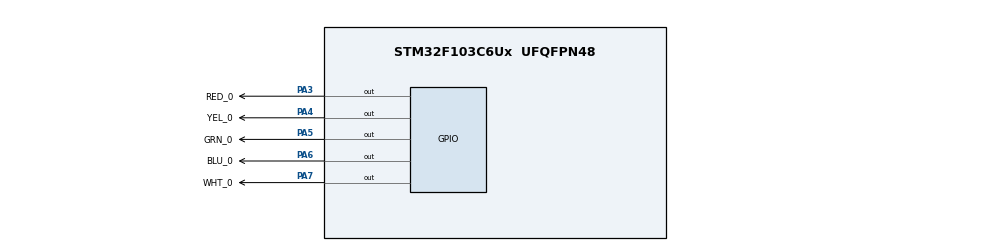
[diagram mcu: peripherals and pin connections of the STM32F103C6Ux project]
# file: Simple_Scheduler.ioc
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Mcu.Family=STM32F1
Mcu.Name=STM32F103C6Ux
Mcu.Package=UFQFPN48
NVIC.PriorityGroup=NVIC_PRIORITYGROUP_4
NVIC.TIM2_IRQn=true\:0\:0\:false\:false\:true\:true\:true\:true
PA13.Mode=Serial_Wire
PA13.Signal=SYS_JTMS-SWDIO
PA14.Mode=Serial_Wire
PA14.Signal=SYS_JTCK-SWCLK
PA3.GPIO_Label=RED_0
PA3.Signal=GPIO_Output
PA4.GPIO_Label=YEL_0
PA4.Signal=GPIO_Output
PA5.GPIO_Label=GRN_0
PA5.Signal=GPIO_Output
PA6.GPIO_Label=BLU_0
PA6.Signal=GPIO_Output
PA7.GPIO_Label=WHT_0
PA7.Signal=GPIO_Output
ProjectManager.HeapSize=0x200
ProjectManager.StackSize=0x400
ProjectManager.TargetToolchain=STM32CubeIDE
RCC.APB1Freq_Value=8000000
RCC.APB2Freq_Value=8000000
TIM2.Period=9
TIM2.Prescaler=7999
VP_TIM2_VS_ClockSourceINT.Mode=Internal
board=custom

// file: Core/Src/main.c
/* USER CODE BEGIN Header */
/**
  ******************************************************************************
  * @file           : main.c
  * @brief          : Main program body
  ******************************************************************************
  * @attention
  *
  * Copyright (c) 2022 STMicroelectronics.
  * All rights reserved.
  *
  * This software is licensed under terms that can be found in the LICENSE file
  * in the root directory of this software component.
  * If no LICENSE file comes with this software, it is provided AS-IS.
  *
  ******************************************************************************
  */
/* USER CODE END Header */
#include "main.h"
#include "tim.h"
#include "gpio.h"

/* USER CODE BEGIN Includes */
#include "sched.h"
/* USER CODE END Includes */

void SystemClock_Config(void);
/* USER CODE BEGIN PFP */
void toggleRedLed(void);
void toggleYelLed(void);
void toggleGrnLed(void);
void toggleBluLed(void);
void toggleWhtLed(void);
/* USER CODE END PFP */

/* USER CODE BEGIN 0 */
void toggleRedLed(void) {
	HAL_GPIO_TogglePin(RED_0_GPIO_Port, RED_0_Pin);
}

void toggleYelLed(void) {
	HAL_GPIO_TogglePin(YEL_0_GPIO_Port, YEL_0_Pin);
}

void toggleGrnLed(void) {
	HAL_GPIO_TogglePin(GRN_0_GPIO_Port, GRN_0_Pin);
}

void toggleBluLed(void) {
	HAL_GPIO_TogglePin(BLU_0_GPIO_Port, BLU_0_Pin);
}

void toggleWhtLed(void) {
	HAL_GPIO_TogglePin(WHT_0_GPIO_Port, WHT_0_Pin);
}
/* USER CODE END 0 */

int main(void)
{

  /* MCU Configuration--------------------------------------------------------*/

  /* Reset of all peripherals, Initializes the Flash interface and the Systick. */
  HAL_Init();

  /* USER CODE BEGIN Init */
  SCH_Init();
  /* USER CODE END Init */

  /* Configure the system clock */
  SystemClock_Config();

  /* Initialize all configured peripherals */
  MX_GPIO_Init();
  MX_TIM2_Init();
  /* USER CODE BEGIN 2 */
  HAL_TIM_Base_Start_IT(&htim2);

  SCH_Add_Task(&toggleRedLed, 0, 500);
  SCH_Add_Task(&toggleYelLed, 10, 1000);
  SCH_Add_Task(&toggleGrnLed, 20, 1500);
  SCH_Add_Task(&toggleBluLed, 30, 2000);
  SCH_Add_Task(&toggleWhtLed, 5000, 0);
  /* USER CODE END 2 */

  /* Infinite loop */
  /* USER CODE BEGIN WHILE */
  while (1)
  {
	SCH_Dispatch_Tasks();
    /* USER CODE END WHILE */

  }
}

void SystemClock_Config(void)
{
  RCC_OscInitTypeDef RCC_OscInitStruct = {0};
  RCC_ClkInitTypeDef RCC_ClkInitStruct = {0};

  /** Initializes the RCC Oscillators according to the specified parameters
  * in the RCC_OscInitTypeDef structure.
  */
  RCC_OscInitStruct.OscillatorType = RCC_OSCILLATORTYPE_HSI;
  RCC_OscInitStruct.HSIState = RCC_HSI_ON;
  RCC_OscInitStruct.HSICalibrationValue = RCC_HSICALIBRATION_DEFAULT;
  RCC_OscInitStruct.PLL.PLLState = RCC_PLL_NONE;
  if (HAL_RCC_OscConfig(&RCC_OscInitStruct) != HAL_OK)
  {
    Error_Handler();
  }

  /** Initializes the CPU, AHB and APB buses clocks
  */
  RCC_ClkInitStruct.ClockType = RCC_CLOCKTYPE_HCLK|RCC_CLOCKTYPE_SYSCLK
                              |RCC_CLOCKTYPE_PCLK1|RCC_CLOCKTYPE_PCLK2;
  RCC_ClkInitStruct.SYSCLKSource = RCC_SYSCLKSOURCE_HSI;
  RCC_ClkInitStruct.AHBCLKDivider = RCC_SYSCLK_DIV1;
  RCC_ClkInitStruct.APB1CLKDivider = RCC_HCLK_DIV1;
  RCC_ClkInitStruct.APB2CLKDivider = RCC_HCLK_DIV1;

  if (HAL_RCC_ClockConfig(&RCC_ClkInitStruct, FLASH_LATENCY_0) != HAL_OK)
  {
    Error_Handler();
  }
}

/* USER CODE BEGIN 4 */
void HAL_TIM_PeriodElapsedCallback(TIM_HandleTypeDef* htim)
{
    /*
     * Invoked every 10ms
     */
	SCH_Update();
}
/* USER CODE END 4 */

void Error_Handler(void)
{
  __disable_irq();
  while (1)
  {
  }
}
